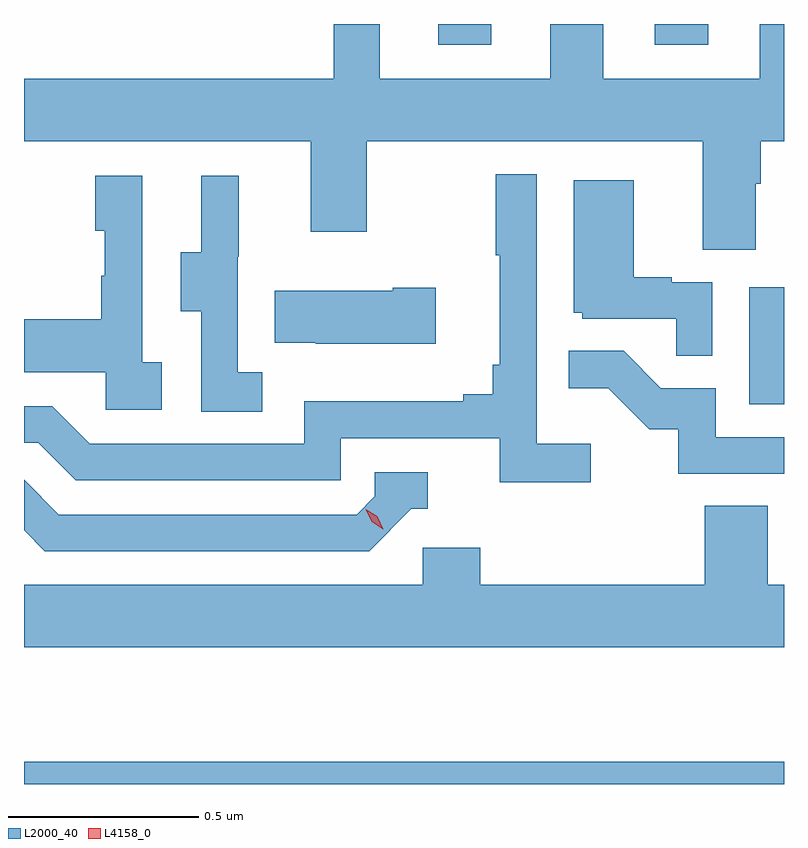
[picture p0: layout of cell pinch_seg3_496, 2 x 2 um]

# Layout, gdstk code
import gdstk
lib = gdstk.Library(unit=1e-6, precision=1e-09)
def R(c, l, rs):  # rectangles x0, y0, x1, y1
    for r in rs: c.add(gdstk.rectangle(r[:2], r[2:], *l))
def P(c, l, *ps):  # polygons
    for p in ps: c.add(gdstk.Polygon(p, *l))
L2000_40 = (2000, 40)
L4158_0 = (4158, 0)

pinch_seg3_496 = lib.new_cell('pinch_seg3_496')
R(pinch_seg3_496, L2000_40, [(997.063,671.252,999.063,671.311), (998.972,672.252,999.063,672.559), (998.153,673.197,998.293,673.252), (998.723,673.197,998.863,673.252)])
P(pinch_seg3_496, L2000_40, [(998.989,672.832),(999.002,672.832),(999.002,672.944),(999.063,672.944),(999.063,673.252),(998.999,673.252),(998.999,673.108),(998.587,673.108),(998.587,673.252),(998.448,673.252),(998.448,673.108),(997.999,673.108),(997.999,673.252),(997.878,673.252),(997.878,673.108),(997.063,673.108),(997.063,672.944),(997.817,672.944),(997.817,672.705),(997.965,672.705),(997.965,672.944),(998.849,672.944),(998.849,672.658),(998.989,672.658)],
  [(998.554,672.148),(998.412,672.148),(998.412,672.856),(998.304,672.856),(998.304,672.643),(998.315,672.643),(998.315,672.355),(998.296,672.355),(998.296,672.278),(998.219,672.278),(998.219,672.259),(997.8,672.259),(997.8,672.147),(997.236,672.147),(997.137,672.246),(997.063,672.246),(997.063,672.15),(997.1,672.15),(997.199,672.051),(997.896,672.051),(997.896,672.162),(998.315,672.162),(998.315,672.046),(998.554,672.046)],
  [(997.69,672.335),(997.626,672.335),(997.626,672.639),(997.628,672.639),(997.628,672.853),(997.529,672.853),(997.529,672.651),(997.475,672.651),(997.475,672.496),(997.53,672.496),(997.53,672.232),(997.69,672.232)],
  [(997.426,672.362),(997.374,672.362),(997.374,672.853),(997.25,672.853),(997.25,672.708),(997.276,672.708),(997.276,672.59),(997.266,672.59),(997.266,672.475),(997.063,672.475),(997.063,672.335),(997.278,672.335),(997.278,672.237),(997.426,672.237)],
  [(998.874,672.573),(998.768,672.573),(998.768,672.586),(998.668,672.586),(998.668,672.841),(998.51,672.841),(998.51,672.492),(998.532,672.492),(998.532,672.477),(998.779,672.477),(998.779,672.379),(998.874,672.379)],
  [(998.146,672.558),(998.033,672.558),(998.033,672.55),(997.723,672.55),(997.723,672.413),(997.831,672.413),(997.831,672.41),(998.146,672.41)],
  [(999.063,672.165),(998.883,672.165),(998.883,672.294),(998.739,672.294),(998.641,672.392),(998.497,672.392),(998.497,672.293),(998.601,672.293),(998.708,672.186),(998.785,672.186),(998.785,672.069),(999.063,672.069)],
  [(998.082,671.976),(998.125,671.976),(998.125,672.072),(997.986,672.072),(997.986,672.009),(997.938,671.961),(997.155,671.961),(997.063,672.053),(997.063,671.92),(997.118,671.865),(997.971,671.865)],
  [(999.063,671.776),(999.02,671.776),(999.02,671.984),(998.855,671.984),(998.855,671.776),(998.264,671.776),(998.264,671.874),(998.112,671.874),(998.112,671.776),(997.063,671.776),(997.063,671.612),(999.063,671.612)])
P(pinch_seg3_496, L4158_0, [(998.009,671.923),(997.978,671.942),(997.962,671.975),(997.962,671.975),(997.962,671.975),(997.993,671.956),(998.009,671.923),(998.009,671.923)])

lib.write_gds('pinch_seg3_496.gds')
